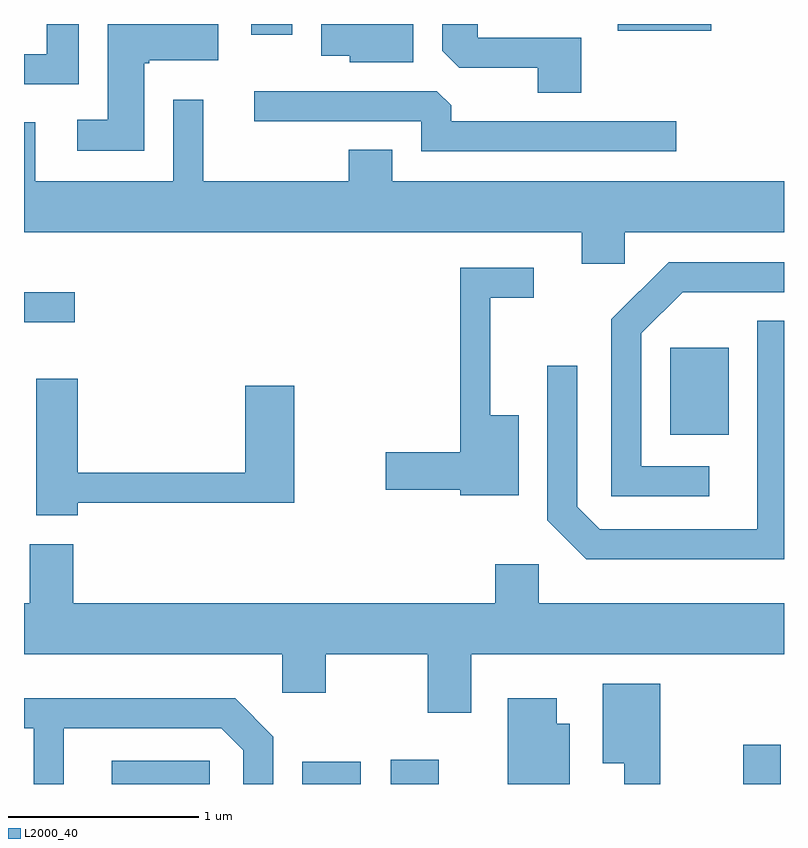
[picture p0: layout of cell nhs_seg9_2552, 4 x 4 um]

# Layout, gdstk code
import gdstk
lib = gdstk.Library(unit=1e-6, precision=1e-09)
def R(c, l, rs):  # rectangles x0, y0, x1, y1
    for r in rs: c.add(gdstk.rectangle(r[:2], r[2:], *l))
def P(c, l, *ps):  # polygons
    for p in ps: c.add(gdstk.Polygon(p, *l))
L2000_40 = (2000, 40)

nhs_seg9_2552 = lib.new_cell('nhs_seg9_2552')
R(nhs_seg9_2552, L2000_40, [(260.073,2024.432,260.589,2024.554), (261.076,2024.432,261.384,2024.549), (261.541,2024.432,261.794,2024.559), (263.396,2024.432,263.594,2024.639), (263.011,2026.271,263.319,2026.729), (259.611,2026.861,259.878,2027.019), (260.806,2028.376,261.024,2028.432), (262.736,2028.396,263.229,2028.432)])
P(nhs_seg9_2552, L2000_40, [(260.244,2028.226),(260.27,2028.226),(260.27,2028.241),(260.634,2028.241),(260.634,2028.432),(260.051,2028.432),(260.051,2027.929),(259.892,2027.929),(259.892,2027.766),(260.244,2027.766)],
  [(262.544,2028.359),(261.999,2028.359),(261.999,2028.432),(261.811,2028.432),(261.811,2028.292),(261.902,2028.201),(262.316,2028.201),(262.316,2028.071),(262.544,2028.071)],
  [(261.659,2028.432),(261.176,2028.432),(261.176,2028.266),(261.326,2028.266),(261.326,2028.231),(261.659,2028.231)],
  [(259.899,2028.432),(259.731,2028.432),(259.731,2028.274),(259.611,2028.274),(259.611,2028.116),(259.899,2028.116)],
  [(263.043,2027.919),(261.859,2027.919),(261.859,2028.004),(261.784,2028.079),(260.823,2028.079),(260.823,2027.921),(261.701,2027.921),(261.701,2027.761),(263.043,2027.761)],
  [(262.774,2027.336),(263.611,2027.336),(263.611,2027.604),(261.549,2027.604),(261.549,2027.769),(261.321,2027.769),(261.321,2027.604),(260.554,2027.604),(260.554,2028.033),(260.396,2028.033),(260.396,2027.604),(259.669,2027.604),(259.669,2027.914),(259.611,2027.914),(259.611,2027.336),(262.546,2027.336),(262.546,2027.171),(262.774,2027.171)],
  [(263.218,2026.104),(262.859,2026.104),(262.859,2026.804),(263.077,2027.021),(263.611,2027.021),(263.611,2027.179),(263.004,2027.179),(262.701,2026.877),(262.701,2025.946),(263.218,2025.946)],
  [(262.214,2026.374),(262.064,2026.374),(262.064,2026.991),(262.293,2026.991),(262.293,2027.149),(261.906,2027.149),(261.906,2026.179),(261.516,2026.179),(261.516,2025.981),(261.906,2025.981),(261.906,2025.951),(262.214,2025.951)],
  [(263.611,2026.869),(263.471,2026.869),(263.471,2025.774),(262.642,2025.774),(262.524,2025.892),(262.524,2026.633),(262.366,2026.633),(262.366,2025.819),(262.569,2025.616),(263.611,2025.616)],
  [(259.894,2025.911),(261.034,2025.911),(261.034,2026.529),(260.776,2026.529),(260.776,2026.069),(259.894,2026.069),(259.894,2026.564),(259.676,2026.564),(259.676,2025.846),(259.894,2025.846)],
  [(261.964,2025.116),(263.611,2025.116),(263.611,2025.384),(262.319,2025.384),(262.319,2025.589),(262.091,2025.589),(262.091,2025.384),(259.869,2025.384),(259.869,2025.694),(259.641,2025.694),(259.641,2025.384),(259.611,2025.384),(259.611,2025.116),(260.971,2025.116),(260.971,2024.911),(261.199,2024.911),(261.199,2025.116),(261.736,2025.116),(261.736,2024.806),(261.964,2024.806)],
  [(262.959,2024.959),(262.656,2024.959),(262.656,2024.541),(262.771,2024.541),(262.771,2024.432),(262.959,2024.432)],
  [(262.484,2024.749),(262.414,2024.749),(262.414,2024.884),(262.156,2024.884),(262.156,2024.432),(262.484,2024.432)],
  [(259.819,2024.726),(260.649,2024.726),(260.766,2024.609),(260.766,2024.432),(260.924,2024.432),(260.924,2024.682),(260.722,2024.884),(259.611,2024.884),(259.611,2024.726),(259.661,2024.726),(259.661,2024.432),(259.819,2024.432)])

lib.write_gds('nhs_seg9_2552.gds')
